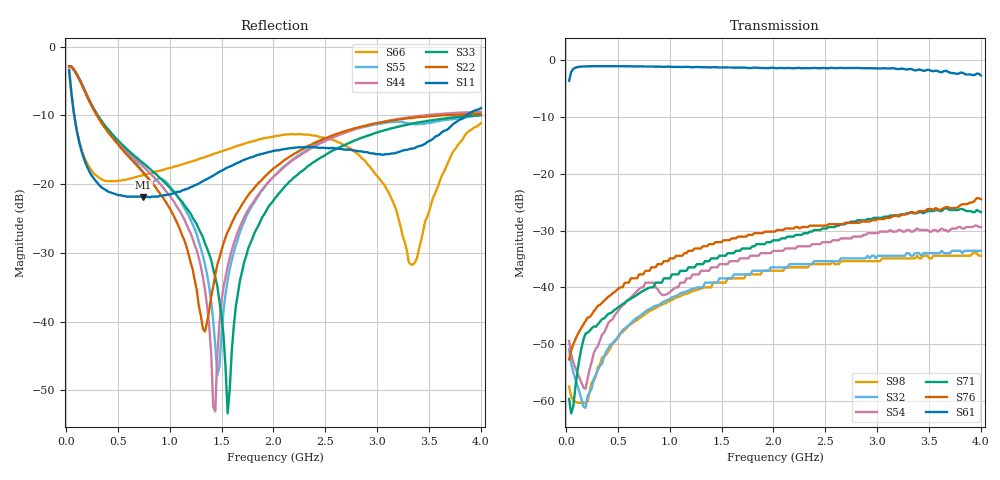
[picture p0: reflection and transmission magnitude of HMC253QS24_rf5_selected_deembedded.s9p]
!Hittite Microwave Corporation
!12 Elizabeth Drive
!Chelmsford, MA 01824
!Tel: 978-250-3343
!Fax: 978-250-3373
!Device: HMC253QS24, DC-2.5 GHz GaAS MMIC SP8T Non-Reflective Switch in 24-lead QSOP package
!Misc: Port 1 = RFCom, Port 2 = RF1, Port 3 = RF2, Port 4 = RF3, Port 5 = RF4, Port 6 = RF5, Port 7 = RF6, Port 8 = RF7, Port 9 = RF8, RF5 selected, Vdd=+5V
# MHZ S MA R 50
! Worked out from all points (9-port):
!   201 points, 30 MHz to 4 GHz, reference 50 ohm
!   strongest paths, dB at 30 MHz, 1.022 GHz, 2.015 GHz, 3.007 GHz, 4 GHz:
!     S61: -3.6, -1.1, -1.4, -1.4, -2.7
!     S76: -52.7, -34.9, -30.2, -28.0, -24.4
!     S71: -59.7, -37.7, -31.7, -27.7, -26.7
!     S54: -49.4, -40.5, -33.6, -30.5, -29.4
!     S32: -50.9, -41.8, -36.5, -34.4, -33.6
!     S98: -57.5, -42.2, -37.1, -35.4, -34.4
!   lowest |S11| = -21.9 dB at 744.6 MHz (marker M1), VSWR 1.17, Z = 58.1 - j3.08 ohm
!   |S11| at or under -10 dB: 79.52 MHz to 3.86 GHz (3.78 GHz wide, 192 % of centre)
